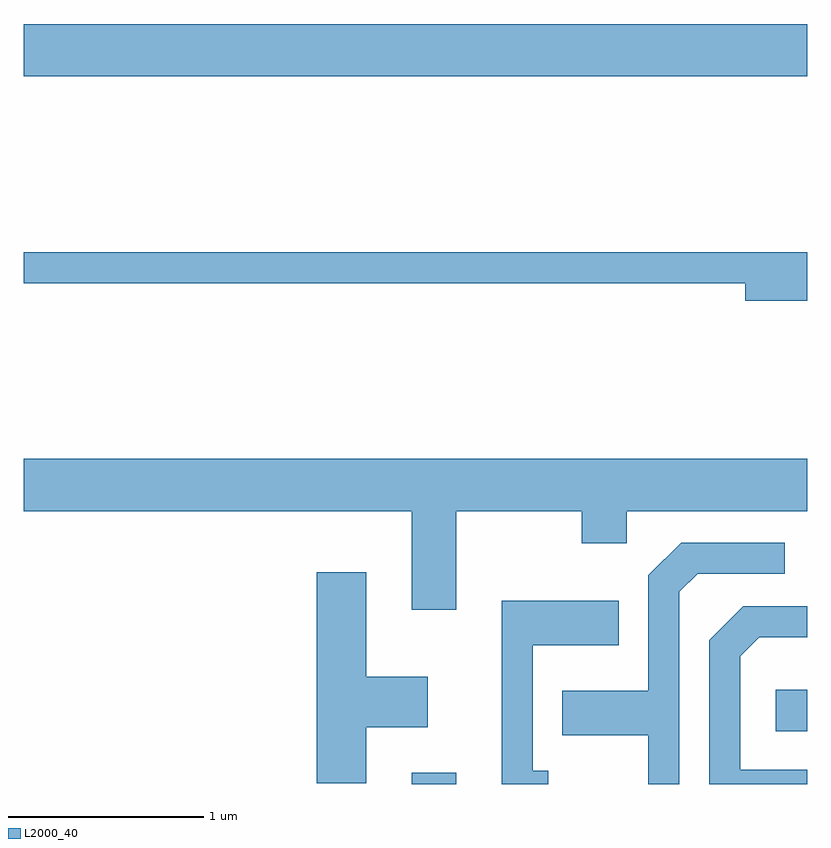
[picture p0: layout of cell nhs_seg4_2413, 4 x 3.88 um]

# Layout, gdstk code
import gdstk
lib = gdstk.Library(unit=1e-6, precision=1e-09)
def R(c, l, rs):  # rectangles x0, y0, x1, y1
    for r in rs: c.add(gdstk.rectangle(r[:2], r[2:], *l))
def P(c, l, *ps):  # polygons
    for p in ps: c.add(gdstk.Polygon(p, *l))
L2000_40 = (2000, 40)

nhs_seg4_2413 = lib.new_cell('nhs_seg4_2413')
R(nhs_seg4_2413, L2000_40, [(257.591,1319.982,257.819,1320.039), (259.451,1320.251,259.611,1320.464), (255.611,1323.596,259.611,1323.864)])
P(nhs_seg4_2413, L2000_40, [(259.611,1322.699),(255.611,1322.699),(255.611,1322.541),(259.296,1322.541),(259.296,1322.451),(259.611,1322.451)],
  [(257.819,1321.376),(258.461,1321.376),(258.461,1321.211),(258.689,1321.211),(258.689,1321.376),(259.611,1321.376),(259.611,1321.644),(255.611,1321.644),(255.611,1321.376),(257.591,1321.376),(257.591,1320.871),(257.819,1320.871)],
  [(258.959,1320.964),(259.052,1321.056),(259.498,1321.056),(259.498,1321.214),(258.969,1321.214),(258.801,1321.047),(258.801,1320.459),(258.361,1320.459),(258.361,1320.231),(258.801,1320.231),(258.801,1319.982),(258.959,1319.982)],
  [(257.359,1320.271),(257.674,1320.271),(257.674,1320.529),(257.359,1320.529),(257.359,1321.064),(257.106,1321.064),(257.106,1319.986),(257.359,1319.986)],
  [(258.288,1320.049),(258.209,1320.049),(258.209,1320.691),(258.649,1320.691),(258.649,1320.919),(258.051,1320.919),(258.051,1319.982),(258.288,1319.982)],
  [(259.611,1320.054),(259.269,1320.054),(259.269,1320.634),(259.367,1320.731),(259.611,1320.731),(259.611,1320.889),(259.284,1320.889),(259.111,1320.717),(259.111,1319.982),(259.611,1319.982)])

lib.write_gds('nhs_seg4_2413.gds')
